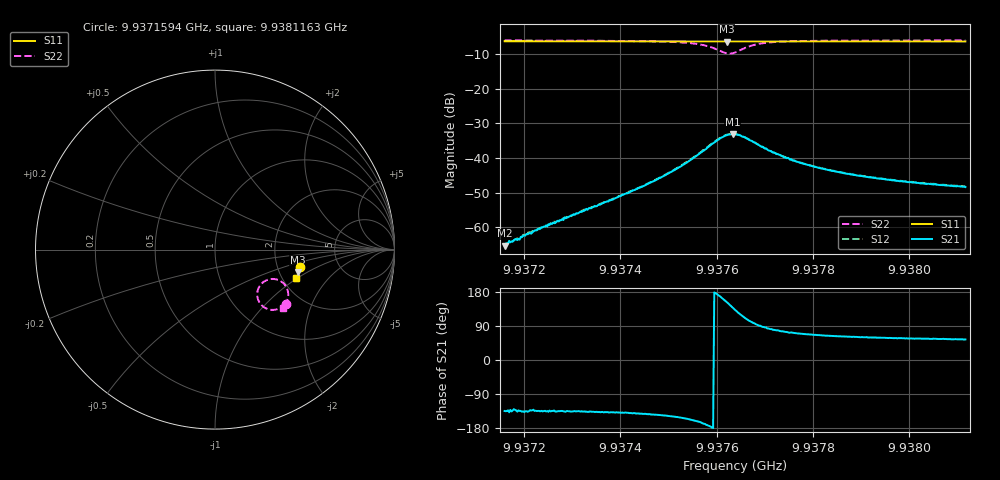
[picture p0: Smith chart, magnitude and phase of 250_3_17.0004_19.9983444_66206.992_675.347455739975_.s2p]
#  HZ  S  RI  R  50.00
! Rohde & Schwarz Vector Network Analyzer
! Rohde-Schwarz,ZNB20-2Port,1311601062101988,3.16
! Created: UTC 3/20/2024, 11:03:15 PM
! freq[Hz]  re:S11  im:S11  re:S21  im:S21  re:S12  im:S12  re:S22  im:S22
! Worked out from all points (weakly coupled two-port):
!   401 points, 9.9371594 GHz to 9.9381163 GHz, reference 50 ohm
!   highest |S21| = -33.08 dB at 9.9376331 GHz (marker M1); lowest = -65.3 dB at 9.9371594 GHz (marker M2)
!   lowest |S11| = -6.4 dB at 9.9376211 GHz (marker M3), VSWR 2.84, Z = 126 - j41.7 ohm
!   |S11| at or under -10 dB: nowhere
!   |S22| runs from -9.9 to -6.1 dB; largest |S21 - S12| = 0.00093
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9.93715941e9  0.4742 -0.0978  -0.00038 -0.000387  -0.000389 -0.000367  0.3955 -0.301
9.93720965e9  0.473 -0.1011  -0.00058 -0.000572  -0.000613 -0.000588  0.3915 -0.3048
9.93722639e9  0.4729 -0.1023  -0.000639 -0.000644  -0.000643 -0.000669  0.3901 -0.3062
9.93724075e9  0.4726 -0.1033  -0.000723 -0.000729  -0.000738 -0.000747  0.3887 -0.3074
9.93731969e9  0.471 -0.1086  -0.00119 -0.00118  -0.00127 -0.00118  0.3808 -0.3142
9.9374106e9  0.4689 -0.1147  -0.00229 -0.00202  -0.00238 -0.00198  0.3666 -0.3237
9.93747997e9  0.4675 -0.1194  -0.0042 -0.00291  -0.00426 -0.0029  0.3473 -0.3321
9.93752782e9  0.4661 -0.1229  -0.00692 -0.00357  -0.00714 -0.00351  0.322 -0.336
9.93757327e9  0.4644 -0.1258  -0.0125 -0.00264  -0.0129 -0.00258  0.2756 -0.3226
9.93760198e9  0.4632 -0.1272  -0.018 0.00246  -0.0184 0.00302  0.239 -0.2747
9.93762112e9  0.4622 -0.1275  -0.019 0.00992  -0.019 0.0107  0.2429 -0.2141
9.93763308e9  0.4623 -0.1277  -0.0165 0.0148  -0.0162 0.0156  0.2702 -0.1803
9.93763786e9  0.4623 -0.1278  -0.0147 0.0162  -0.0145 0.017  0.2852 -0.1715
9.93765222e9  0.4625 -0.1283  -0.00929 0.0182  -0.00887 0.0189  0.3312 -0.164
9.93766418e9  0.4629 -0.1291  -0.00528 0.0181  -0.00467 0.0185  0.3621 -0.1735
9.93769289e9  0.4629 -0.1314  0.000403 0.0145  0.000778 0.0148  0.3983 -0.2107
9.93774073e9  0.4622 -0.1349  0.00273 0.00976  0.00299 0.00996  0.4082 -0.2536
9.93779815e9  0.4609 -0.1389  0.00299 0.00702  0.00317 0.00703  0.4034 -0.279
9.93788427e9  0.4588 -0.1447  0.00273 0.00502  0.00288 0.00503  0.3945 -0.2989
9.93795843e9  0.457 -0.1496  0.00253 0.00412  0.00267 0.00411  0.388 -0.3092
9.93802063e9  0.4555 -0.1536  0.00241 0.00363  0.0025 0.00362  0.3831 -0.3154
9.93811632e9  0.453 -0.1598  0.00223 0.0031  0.00234 0.00312  0.3763 -0.3239
